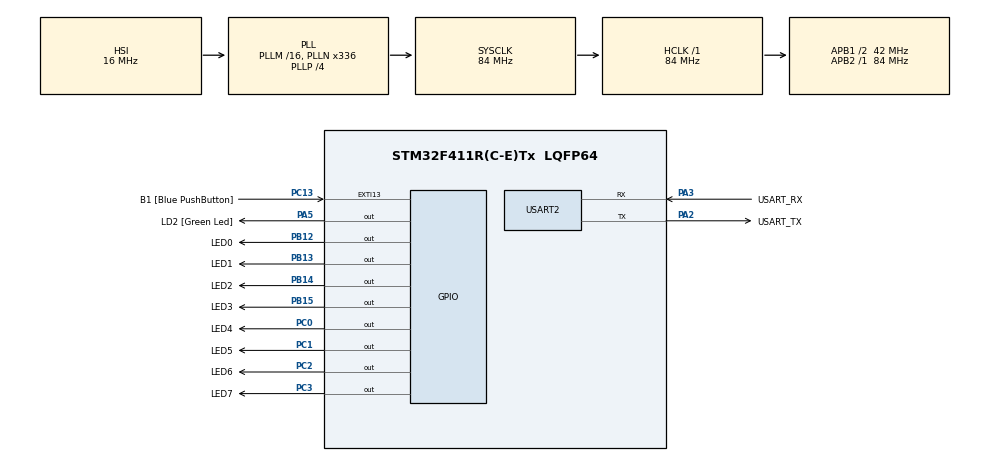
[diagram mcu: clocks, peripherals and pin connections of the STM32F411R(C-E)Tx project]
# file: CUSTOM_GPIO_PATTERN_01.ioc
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Mcu.Family=STM32F4
Mcu.Name=STM32F411R(C-E)Tx
Mcu.Package=LQFP64
NVIC.PriorityGroup=NVIC_PRIORITYGROUP_0
PA13.GPIO_Label=TMS
PA13.Mode=Serial_Wire
PA13.Signal=SYS_JTMS-SWDIO
PA14.GPIO_Label=TCK
PA14.Mode=Serial_Wire
PA14.Signal=SYS_JTCK-SWCLK
PA2.GPIO_Label=USART_TX
PA2.Mode=Asynchronous
PA2.Signal=USART2_TX
PA3.GPIO_Label=USART_RX
PA3.Mode=Asynchronous
PA3.Signal=USART2_RX
PA5.GPIO_Label=LD2 [Green Led]
PA5.Signal=GPIO_Output
PB12.GPIO_Label=LED0
PB12.Signal=GPIO_Output
PB13.GPIO_Label=LED1
PB13.Signal=GPIO_Output
PB14.GPIO_Label=LED2
PB14.Signal=GPIO_Output
PB15.GPIO_Label=LED3
PB15.Signal=GPIO_Output
PB3.GPIO_Label=SWO
PB3.Signal=SYS_JTDO-SWO
PC0.GPIO_Label=LED4
PC0.Signal=GPIO_Output
PC1.GPIO_Label=LED5
PC1.Signal=GPIO_Output
PC13-ANTI_TAMP.GPIO_Label=B1 [Blue PushButton]
PC13-ANTI_TAMP.GPIO_ModeDefaultEXTI=GPIO_MODE_IT_FALLING
PC13-ANTI_TAMP.Signal=GPXTI13
PC14-OSC32_IN.Signal=RCC_OSC32_IN
PC15-OSC32_OUT.Signal=RCC_OSC32_OUT
PC2.GPIO_Label=LED6
PC2.Signal=GPIO_Output
PC3.GPIO_Label=LED7
PC3.Signal=GPIO_Output
PH0\ -\ OSC_IN.Signal=RCC_OSC_IN
PH1\ -\ OSC_OUT.Signal=RCC_OSC_OUT
ProjectManager.HeapSize=0x200
ProjectManager.StackSize=0x400
ProjectManager.TargetToolchain=STM32CubeIDE
RCC.48MHZClocksFreq_Value=84000000
RCC.AHBFreq_Value=84000000
RCC.APB1CLKDivider=RCC_HCLK_DIV2
RCC.APB1Freq_Value=42000000
RCC.APB1TimFreq_Value=84000000
RCC.APB2Freq_Value=84000000
RCC.APB2TimFreq_Value=84000000
RCC.CortexFreq_Value=84000000
RCC.FLatency-AdvancedSettings=FLASH_LATENCY_2
RCC.HCLKFreq_Value=84000000
RCC.HSE_VALUE=8000000
RCC.HSI_VALUE=16000000
RCC.LSE_VALUE=32768
RCC.PLLN=336
RCC.PLLP=RCC_PLLP_DIV4
RCC.SYSCLKFreq_VALUE=84000000
RCC.SYSCLKSource=RCC_SYSCLKSOURCE_PLLCLK
RCC.VCOOutputFreq_Value=336000000
USART2.VirtualMode=VM_ASYNC
board=NUCLEO-F411RE

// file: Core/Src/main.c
/* USER CODE BEGIN Header */
/**
  ******************************************************************************
  * @file           : main.c
  * @brief          : Main program body
  ******************************************************************************
  */
/* USER CODE END Header */
#include "main.h"

/* USER CODE BEGIN Includes */
#include <stdio.h>
#include <string.h>
/* USER CODE END Includes */

/* USER CODE BEGIN PTD */
typedef enum
{
  PATTERN_SHIFT = 0,
  PATTERN_BOUNCE,
  PATTERN_ALTERNATE,
  PATTERN_MAX
} LedPatternMode;
/* USER CODE END PTD */

/* USER CODE BEGIN PD */
#define LED_BIT_0 0x01U
#define LED_BIT_1 0x02U
#define LED_BIT_2 0x04U
#define LED_BIT_3 0x08U
#define LED_BIT_4 0x10U
#define LED_BIT_5 0x20U
#define LED_BIT_6 0x40U
#define LED_BIT_7 0x80U
/* USER CODE END PD */

UART_HandleTypeDef huart2;

/* USER CODE BEGIN PV */
static volatile LedPatternMode g_mode = PATTERN_SHIFT;
static volatile uint32_t g_last_button_tick = 0U;
/* USER CODE END PV */

void SystemClock_Config(void);
static void MX_GPIO_Init(void);
static void MX_USART2_UART_Init(void);
/* USER CODE BEGIN PFP */
static void LED_Write8(uint8_t value);
static void App_RunPattern(LedPatternMode mode);
static void UART_Print(const char *msg);
/* USER CODE END PFP */

/* USER CODE BEGIN 0 */
static void LED_Write8(uint8_t value)
{
  HAL_GPIO_WritePin(GPIOB, LED0_Pin | LED1_Pin | LED2_Pin | LED3_Pin, GPIO_PIN_RESET);
  HAL_GPIO_WritePin(GPIOC, LED4_Pin | LED5_Pin | LED6_Pin | LED7_Pin, GPIO_PIN_RESET);

  HAL_GPIO_WritePin(GPIOB, LED0_Pin, (value & LED_BIT_0) ? GPIO_PIN_SET : GPIO_PIN_RESET);
  HAL_GPIO_WritePin(GPIOB, LED1_Pin, (value & LED_BIT_1) ? GPIO_PIN_SET : GPIO_PIN_RESET);
  HAL_GPIO_WritePin(GPIOB, LED2_Pin, (value & LED_BIT_2) ? GPIO_PIN_SET : GPIO_PIN_RESET);
  HAL_GPIO_WritePin(GPIOB, LED3_Pin, (value & LED_BIT_3) ? GPIO_PIN_SET : GPIO_PIN_RESET);
  HAL_GPIO_WritePin(GPIOC, LED4_Pin, (value & LED_BIT_4) ? GPIO_PIN_SET : GPIO_PIN_RESET);
  HAL_GPIO_WritePin(GPIOC, LED5_Pin, (value & LED_BIT_5) ? GPIO_PIN_SET : GPIO_PIN_RESET);
  HAL_GPIO_WritePin(GPIOC, LED6_Pin, (value & LED_BIT_6) ? GPIO_PIN_SET : GPIO_PIN_RESET);
  HAL_GPIO_WritePin(GPIOC, LED7_Pin, (value & LED_BIT_7) ? GPIO_PIN_SET : GPIO_PIN_RESET);
}

static void UART_Print(const char *msg)
{
  HAL_UART_Transmit(&huart2, (uint8_t *)msg, (uint16_t)strlen(msg), 100);
}

static void App_RunPattern(LedPatternMode mode)
{
  static uint8_t shift = LED_BIT_0;
  static uint8_t bounce = LED_BIT_0;
  static int8_t bounce_dir = 1;
  static uint8_t alt = 0x55U;

  switch (mode)
  {
  case PATTERN_SHIFT:
    LED_Write8(shift);
    shift = (shift == LED_BIT_7) ? LED_BIT_0 : (uint8_t)(shift << 1);
    break;

  case PATTERN_BOUNCE:
    LED_Write8(bounce);
    if (bounce == LED_BIT_7)
    {
      bounce_dir = -1;
    }
    else if (bounce == LED_BIT_0)
    {
      bounce_dir = 1;
    }
    bounce = (bounce_dir > 0) ? (uint8_t)(bounce << 1) : (uint8_t)(bounce >> 1);
    break;

  case PATTERN_ALTERNATE:
    LED_Write8(alt);
    alt ^= 0xFFU;
    break;

  default:
    LED_Write8(0x00U);
    break;
  }
}

void HAL_GPIO_EXTI_Callback(uint16_t GPIO_Pin)
{
  if (GPIO_Pin == B1_Pin)
  {
    uint32_t now = HAL_GetTick();

    if ((now - g_last_button_tick) >= 150U)
    {
      g_last_button_tick = now;
      g_mode = (LedPatternMode)((g_mode + 1U) % PATTERN_MAX);

      switch (g_mode)
      {
      case PATTERN_SHIFT:
        UART_Print("Mode: SHIFT\r\n");
        break;
      case PATTERN_BOUNCE:
        UART_Print("Mode: BOUNCE\r\n");
        break;
      case PATTERN_ALTERNATE:
        UART_Print("Mode: ALTERNATE\r\n");
        break;
      default:
        break;
      }
    }
  }
}
/* USER CODE END 0 */

int main(void)
{

  HAL_Init();
  SystemClock_Config();
  MX_GPIO_Init();
  MX_USART2_UART_Init();

  /* USER CODE BEGIN 2 */
  UART_Print("CUSTOM_GPIO_PATTERN_01 start\r\n");
  UART_Print("Press USER button to change mode\r\n");
  /* USER CODE END 2 */

  while (1)
  {
    /* USER CODE BEGIN WHILE */
    App_RunPattern(g_mode);
    HAL_Delay(150);
    /* USER CODE END WHILE */

  }
}

void SystemClock_Config(void)
{
  RCC_OscInitTypeDef RCC_OscInitStruct = {0};
  RCC_ClkInitTypeDef RCC_ClkInitStruct = {0};

  __HAL_RCC_PWR_CLK_ENABLE();
  __HAL_PWR_VOLTAGESCALING_CONFIG(PWR_REGULATOR_VOLTAGE_SCALE1);

  RCC_OscInitStruct.OscillatorType = RCC_OSCILLATORTYPE_HSI;
  RCC_OscInitStruct.HSIState = RCC_HSI_ON;
  RCC_OscInitStruct.HSICalibrationValue = RCC_HSICALIBRATION_DEFAULT;
  RCC_OscInitStruct.PLL.PLLState = RCC_PLL_ON;
  RCC_OscInitStruct.PLL.PLLSource = RCC_PLLSOURCE_HSI;
  RCC_OscInitStruct.PLL.PLLM = 16;
  RCC_OscInitStruct.PLL.PLLN = 336;
  RCC_OscInitStruct.PLL.PLLP = RCC_PLLP_DIV4;
  RCC_OscInitStruct.PLL.PLLQ = 4;
  if (HAL_RCC_OscConfig(&RCC_OscInitStruct) != HAL_OK)
  {
    Error_Handler();
  }

  RCC_ClkInitStruct.ClockType = RCC_CLOCKTYPE_HCLK | RCC_CLOCKTYPE_SYSCLK |
                                RCC_CLOCKTYPE_PCLK1 | RCC_CLOCKTYPE_PCLK2;
  RCC_ClkInitStruct.SYSCLKSource = RCC_SYSCLKSOURCE_PLLCLK;
  RCC_ClkInitStruct.AHBCLKDivider = RCC_SYSCLK_DIV1;
  RCC_ClkInitStruct.APB1CLKDivider = RCC_HCLK_DIV2;
  RCC_ClkInitStruct.APB2CLKDivider = RCC_HCLK_DIV1;

  if (HAL_RCC_ClockConfig(&RCC_ClkInitStruct, FLASH_LATENCY_2) != HAL_OK)
  {
    Error_Handler();
  }
}

static void MX_USART2_UART_Init(void)
{
  huart2.Instance = USART2;
  huart2.Init.BaudRate = 115200;
  huart2.Init.WordLength = UART_WORDLENGTH_8B;
  huart2.Init.StopBits = UART_STOPBITS_1;
  huart2.Init.Parity = UART_PARITY_NONE;
  huart2.Init.Mode = UART_MODE_TX_RX;
  huart2.Init.HwFlowCtl = UART_HWCONTROL_NONE;
  huart2.Init.OverSampling = UART_OVERSAMPLING_16;
  if (HAL_UART_Init(&huart2) != HAL_OK)
  {
    Error_Handler();
  }
}

static void MX_GPIO_Init(void)
{
  GPIO_InitTypeDef GPIO_InitStruct = {0};

  __HAL_RCC_GPIOC_CLK_ENABLE();
  __HAL_RCC_GPIOH_CLK_ENABLE();
  __HAL_RCC_GPIOA_CLK_ENABLE();
  __HAL_RCC_GPIOB_CLK_ENABLE();

  HAL_GPIO_WritePin(GPIOC, LED4_Pin | LED5_Pin | LED6_Pin | LED7_Pin, GPIO_PIN_RESET);
  HAL_GPIO_WritePin(LD2_GPIO_Port, LD2_Pin, GPIO_PIN_RESET);
  HAL_GPIO_WritePin(GPIOB, LED0_Pin | LED1_Pin | LED2_Pin | LED3_Pin, GPIO_PIN_RESET);

  GPIO_InitStruct.Pin = B1_Pin;
  GPIO_InitStruct.Mode = GPIO_MODE_IT_FALLING;
  GPIO_InitStruct.Pull = GPIO_NOPULL;
  HAL_GPIO_Init(B1_GPIO_Port, &GPIO_InitStruct);

  GPIO_InitStruct.Pin = LED4_Pin | LED5_Pin | LED6_Pin | LED7_Pin;
  GPIO_InitStruct.Mode = GPIO_MODE_OUTPUT_PP;
  GPIO_InitStruct.Pull = GPIO_NOPULL;
  GPIO_InitStruct.Speed = GPIO_SPEED_FREQ_LOW;
  HAL_GPIO_Init(GPIOC, &GPIO_InitStruct);

  GPIO_InitStruct.Pin = LD2_Pin;
  GPIO_InitStruct.Mode = GPIO_MODE_OUTPUT_PP;
  GPIO_InitStruct.Pull = GPIO_NOPULL;
  GPIO_InitStruct.Speed = GPIO_SPEED_FREQ_LOW;
  HAL_GPIO_Init(LD2_GPIO_Port, &GPIO_InitStruct);

  GPIO_InitStruct.Pin = LED0_Pin | LED1_Pin | LED2_Pin | LED3_Pin;
  GPIO_InitStruct.Mode = GPIO_MODE_OUTPUT_PP;
  GPIO_InitStruct.Pull = GPIO_NOPULL;
  GPIO_InitStruct.Speed = GPIO_SPEED_FREQ_LOW;
  HAL_GPIO_Init(GPIOB, &GPIO_InitStruct);

  HAL_NVIC_SetPriority(EXTI15_10_IRQn, 2, 0);
  HAL_NVIC_EnableIRQ(EXTI15_10_IRQn);
}

void Error_Handler(void)
{
  __disable_irq();
  while (1)
  {
  }
}
